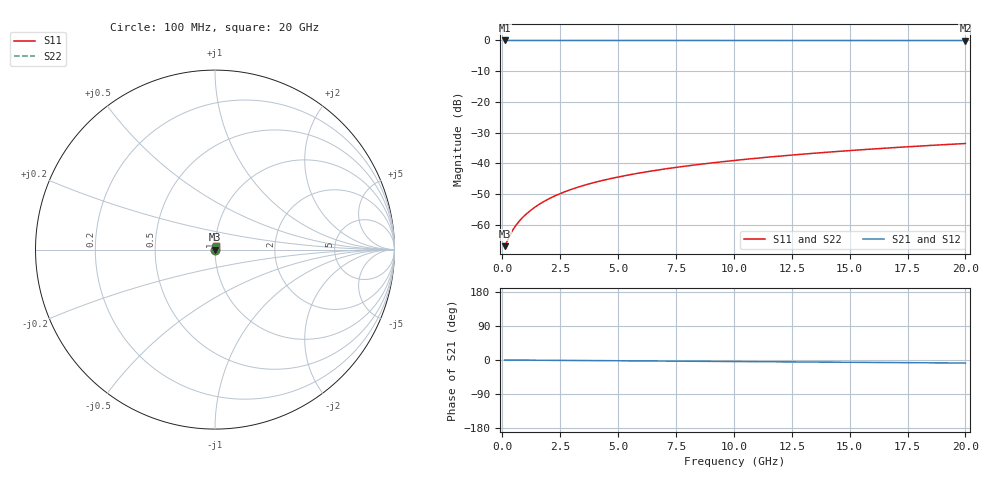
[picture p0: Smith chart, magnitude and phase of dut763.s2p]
! Touchstone file exported from HFSS 2026.1.0
!  File:  C:/ffzhzh/LocalFiles/Ansys_Project_Files/temp_train_TSV_763_1783183285_55132.aedt
!  Generated:  12:43:10 AM Jul  5, 2026
!  Design:  TSV
!  Project:  temp_train_TSV_763_1783183285_55132
! Variables:
!  h_bsmrdl = 2um
!  h_ox = 20um
!  h_rdl = 5um
!  h_sub = 83.84um
!  h_tmrdl = 5um
!  h_tsv = 83.84um
!  h_via = 3um
!  l_bsmrdl = 300um
!  l_sub = 409.96um
!  l_tmrdl = 200um
!  m_sub = 200um
!  pitch = 24.83um
!  r_tsv = 4.98um
!  s_tmrdl = 10um
!  w_bsmrdl = 18um
!  w_sub = 500um
!  w_tmrdl = 12um
!  x_tsv_center1 = 206um
!  x_tsv_center2 = 524um
!  x_tsv_center3 = 736um
!  x_tsv_center4 = 1054um
!  x_tsv_center5 = 1266um
!  x_tsv_center6 = 1584um
# GHz S MA R 50.000000
! Terminal data exported
! Port[1] = TSV1_1_T1
! Port[2] = TSV1_1_T2
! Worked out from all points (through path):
!   200 points, 100 MHz to 20 GHz, reference 50 ohm
!   highest |S21| = 0.00 dB at 100 MHz (marker M1); lowest = 0.0 dB at 20 GHz (marker M2)
!   group delay of S21, straight-line fit = 1.11 ps
!   lowest |S11| = -66.9 dB at 100 MHz (marker M3), VSWR 1.00, Z = 50 + j0.0157 ohm
!   |S11| at or under -10 dB: start of sweep to end of sweep
!   |S22| runs from -66.9 to -33.5 dB; largest |S21 - S12| = 4.3e-15
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0.1  0.0004505 20.3  0.9996 -0.0  0.9996 -0.0  0.0004505 20.3
! Gamma 0 0 0 0
! Port Impedance 50 0 50 0
0.4  0.0007605 50.6  0.9995 -0.2  0.9995 -0.2  0.0007605 50.6
0.5  0.0008781 54.9  0.9995 -0.2  0.9995 -0.2  0.0008781 54.9
0.6  0.0009952 58.1  0.9995 -0.3  0.9995 -0.3  0.0009952 58.1
0.7  0.001112 60.7  0.9995 -0.3  0.9995 -0.3  0.001112 60.7
0.9  0.001345 64.5  0.9994 -0.4  0.9994 -0.4  0.001345 64.5
1.1  0.001579 67.2  0.9994 -0.5  0.9994 -0.5  0.001579 67.2
1.3  0.001814 69.3  0.9994 -0.5  0.9994 -0.5  0.001814 69.3
1.7  0.002286 72.0  0.9993 -0.7  0.9993 -0.7  0.002286 72.0
2.2  0.002875 74.0  0.9992 -0.9  0.9992 -0.9  0.002875 74.0
2.8  0.003573 75.3  0.9992 -1.2  0.9992 -1.2  0.003573 75.3
3.5  0.004367 76.1  0.999 -1.4  0.999 -1.4  0.004367 76.1
4.2  0.005142 76.5  0.9989 -1.7  0.9989 -1.7  0.005142 76.5
5  0.006005 76.8  0.9988 -2.0  0.9988 -2.0  0.006005 76.8
5.9  0.006955 77.0  0.9987 -2.4  0.9987 -2.4  0.006955 77.0
6.8  0.00789 77.1  0.9986 -2.8  0.9986 -2.8  0.00789 77.1
8.3  0.009426 77.3  0.9984 -3.4  0.9984 -3.4  0.009426 77.3
10.1  0.01125 77.3  0.9982 -4.1  0.9982 -4.1  0.01125 77.3
11.7  0.01286 77.2  0.9981 -4.7  0.9981 -4.7  0.01286 77.2
13.4  0.01457 77.0  0.998 -5.4  0.998 -5.4  0.01457 77.0
16.7  0.01785 76.4  0.9977 -6.7  0.9977 -6.7  0.01785 76.4
20  0.02108 75.5  0.9974 -8.0  0.9974 -8.0  0.02108 75.5
